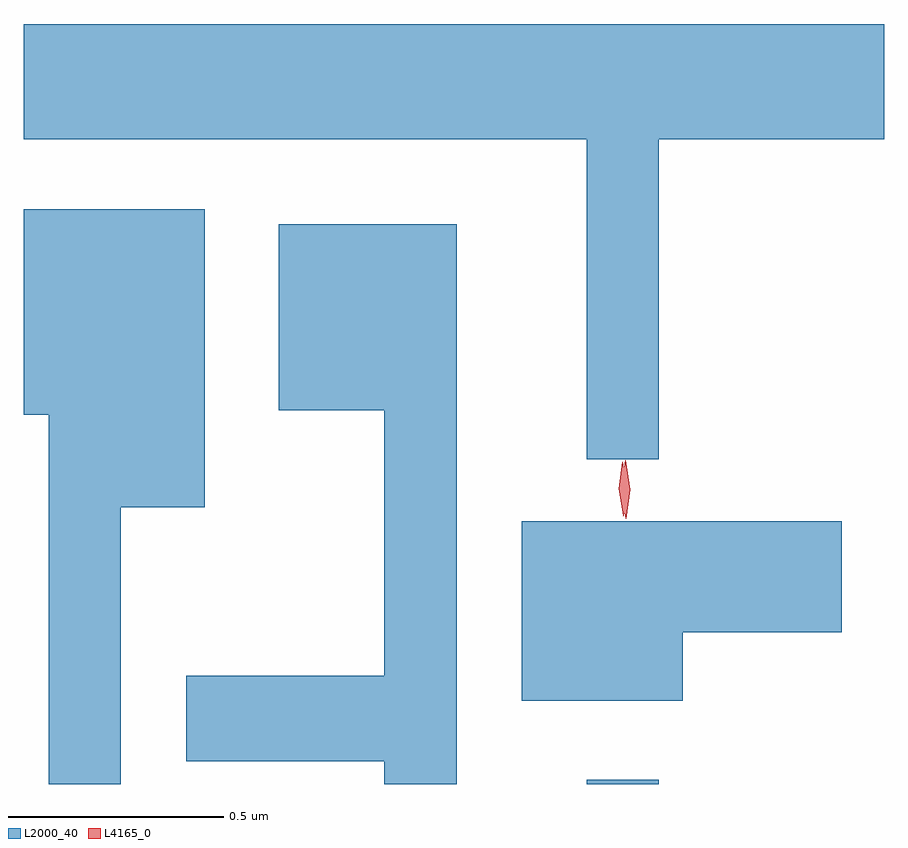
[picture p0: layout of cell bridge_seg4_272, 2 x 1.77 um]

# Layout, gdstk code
import gdstk
lib = gdstk.Library(unit=1e-6, precision=1e-09)
def R(c, l, rs):  # rectangles x0, y0, x1, y1
    for r in rs: c.add(gdstk.rectangle(r[:2], r[2:], *l))
def P(c, l, *ps):  # polygons
    for p in ps: c.add(gdstk.Polygon(p, *l))
L2000_40 = (2000, 40)
L4165_0 = (4165, 0)

bridge_seg4_272 = lib.new_cell('bridge_seg4_272')
R(bridge_seg4_272, L2000_40, [(520.521,1384.258,520.689,1384.268)])
P(bridge_seg4_272, L2000_40, [(520.689,1385.756),(521.213,1385.756),(521.213,1386.024),(519.213,1386.024),(519.213,1385.756),(520.521,1385.756),(520.521,1385.013),(520.689,1385.013)],
  [(519.439,1384.901),(519.634,1384.901),(519.634,1385.594),(519.213,1385.594),(519.213,1385.116),(519.271,1385.116),(519.271,1384.258),(519.439,1384.258)],
  [(520.219,1385.559),(519.806,1385.559),(519.806,1385.126),(520.051,1385.126),(520.051,1384.509),(519.591,1384.509),(519.591,1384.311),(520.051,1384.311),(520.051,1384.258),(520.219,1384.258)],
  [(520.744,1384.611),(521.114,1384.611),(521.114,1384.869),(520.371,1384.869),(520.371,1384.451),(520.744,1384.451)])
P(bridge_seg4_272, L4165_0, [(520.612,1384.874),(520.602,1384.942),(520.611,1385.01),(520.612,1385.01),(520.612,1385.01),(520.622,1384.942),(520.613,1384.874),(520.613,1384.874)],
  [(520.606,1384.88),(520.606,1384.881),(520.596,1384.944),(520.604,1385.006),(520.605,1385.007),(520.605,1385.006),(520.615,1384.944),(520.607,1384.881)])

lib.write_gds('bridge_seg4_272.gds')
